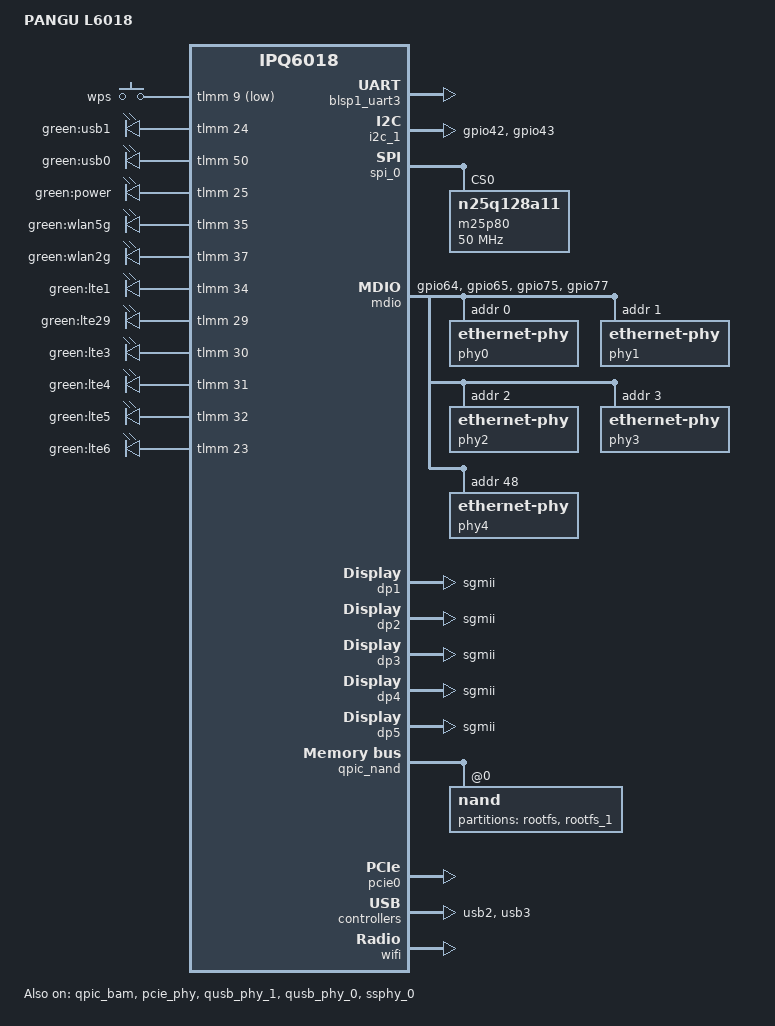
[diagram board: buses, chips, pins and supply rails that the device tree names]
// SPDX-License-Identifier: (GPL-2.0+ OR BSD-3-Clause)
/*
 * IPQ6018 CP01 board device tree source
 *
 * Copyright (c) 2019-2021 The Linux Foundation. All rights reserved.
 */

/dts-v1/;

#include "ipq6018.dtsi"
#include "ipq60xx-nss.dtsi"

/ {
	model = "PANGU L6018";
	compatible = "pangu,l6018", "qcom,ipq6018";

	aliases {
		led-boot = &power;
		led-failsafe = &power;
		led-running = &power;
		led-upgrade = &power;
		serial0 = &blsp1_uart3;
		/*
		 * Aliases as required by u-boot
		 * to patch MAC addresses
		 */
		ethernet0 = "/soc/dp1";
		ethernet1 = "/soc/dp2";
		ethernet2 = "/soc/dp3";
		ethernet3 = "/soc/dp4";
		ethernet4 = "/soc/dp5";
	};

	chosen {
		stdout-path = "serial0:115200n8";
		bootargs-append = " root=/dev/ubiblock0_1 swiotlb=1";
	};
};

&blsp1_uart3 {
	pinctrl-0 = <&serial_3_pins>;
	pinctrl-names = "default";
	status = "ok";
};

&i2c_1 {
	pinctrl-0 = <&i2c_1_pins>;
	pinctrl-names = "default";
	status = "ok";
};

&spi_0 {
	cs-select = <0>;
	status = "ok";

	m25p80@0 {
		#address-cells = <1>;
		#size-cells = <1>;
		reg = <0>;
		compatible = "n25q128a11";
		spi-max-frequency = <50000000>;

		SBL1@0 {
			label = "0:SBL1";
			reg = <0x0 0xc0000>;
			read-only;
		};

		MIBIB@c0000 {
			label = "0:MIBIB";
			reg = <0xc0000 0x10000>;
		};

		BOOTCONFIG@d0000 {
			label = "0:BOOTCONFIG";
			reg = <0xd0000 0x20000>;
			read-only;
		};

		BOOTCONFIG1@f0000 {
			label = "0:BOOTCONFIG1";
			reg = <0xf0000 0x20000>;
			read-only;
		};

		QSEE@110000 {
			label = "0:QSEE";
			reg = <0x110000 0x1a0000>;
			read-only;
		};

		QSEE_1@2b0000 {
			label = "0:QSEE_1";
			reg = <0x2b0000 0x1a0000>;
			read-only;
		};

		DEVCFG@450000 {
			label = "0:DEVCFG";
			reg = <0x450000 0x10000>;
			read-only;
		};

		DEVCFG_1@460000 {
			label = "0:DEVCFG_1";
			reg = <0x460000 0x10000>;
			read-only;
		};

		RPM@470000 {
			label = "0:RPM";
			reg = <0x4700000 0x40000>;
		};

		RPM_1@4b0000 {
			label = "0:RPM_1";
			reg = <0x4b0000 0x40000>;
			read-only;
		};

		CDT@4f0000 {
			label = "0:CDT";
			reg = <0x4f0000 0x10000>;
		};

		CDT_1@500000 {
			label = "0:CDT_1";
			reg = <0x500000 0x10000>;
			read-only;
		};

		APPSBLENV@510000 {
			label = "0:APPSBLENV";
			reg = <0x510000 0x10000>;
		};

		APPSBL@520000 {
			label = "0:APPSBL";
			reg = <0x520000 0xa0000>;
		};

		APPSBL_1@5c0000 {
			label = "0:APPSBL_1";
			reg = <0x5c0000 0xa0000>;
		};

		ART: ART@660000 {
			label = "0:ART";
			reg = <0x660000 0x40000>;
		};
	};
};

&tlmm {
	spi_0_pins: spi-0-pins {
		pins = "gpio38", "gpio39", "gpio40", "gpio41";
		function = "blsp0_spi";
		drive-strength = <8>;
		bias-pull-down;
	};

	i2c_1_pins: i2c_1_pins {
		mux {
			pins = "gpio42", "gpio43";
			function = "blsp2_i2c";
			drive-strength = <8>;
			bias-pull-down;
		};
	};

	button_pins: button_pins {
		wps_button {
			pins = "gpio9";
			function = "gpio";
			drive-strength = <8>;
			bias-pull-up;
		};
	};

	rst_usb_hub_pinmux {
		mux {
			pins = "gpio78";
			function = "gpio";
			drive-strength = <8>;
			bias-pull-up;
			output-high;
		};
	};

	vbus_usb_hub_pinmux {
		mux {
			pins = "gpio79";
			function = "gpio";
			drive-strength = <8>;
			bias-pull-up;
			output-high;
		};
	};

	mdio_pins: mdio_pinmux {
		mux_0 {
			pins = "gpio64";
			function = "mdc";
			drive-strength = <8>;
			bias-pull-up;
		};
		mux_1 {
			pins = "gpio65";
			function = "mdio";
			drive-strength = <8>;
			bias-pull-up;
		};
		mux_2 {
			pins = "gpio75";
			function = "gpio";
			bias-pull-up;
		};
		mux_3 {
			pins = "gpio77";
			function = "gpio";
			bias-pull-up;
		};
	};

	pcie0_pins: pcie_pins {
		pcie0_rst {
			pins = "gpio60";
			function = "pcie0_rst";
			drive-strength = <8>;
			bias-pull-down;
		};
		pcie0_wake {
			pins = "gpio36";
			function = "pcie0_wake";
			drive-strength = <8>;
			bias-pull-down;
		};
	};

	leds_pins: leds_pins {
		power {
			pins = "gpio25";
			function = "gpio";
			drive-strength = <8>;
			bias-pull-down;
		};

		wlan5g {
			pins = "gpio35";
			function = "gpio";
			drive-strength = <8>;
			bias-pull-down;
		};

		wlan2g {
			pins = "gpio37";
			function = "gpio";
			drive-strength = <8>;
			bias-pull-down;
		};

		usb1 {
			pins = "gpio24";
			function = "gpio";
			drive-strength = <8>;
			bias-pull-down;
		};

		usb0 {
			pins = "gpio50";
			function = "gpio";
			drive-strength = <8>;
			bias-pull-down;
		};

		lte1 {
			pins = "gpio34";
			function = "gpio";
			drive-strength = <8>;
			bias-pull-down;
		};

		lte2 {
			pins = "gpio29";
			function = "gpio";
			drive-strength = <8>;
			bias-pull-down;
		};

		lte3 {
			pins = "gpio30";
			function = "gpio";
			drive-strength = <8>;
			bias-pull-down;
		};

		lte4 {
			pins = "gpio31";
			function = "gpio";
			drive-strength = <8>;
			bias-pull-down;
		};

		lte5 {
			pins = "gpio32";
			function = "gpio";
			drive-strength = <8>;
			bias-pull-down;
		};

		lte6 {
			pins = "gpio23";
			function = "gpio";
			drive-strength = <8>;
			bias-pull-down;
		};
	};
};

&soc {
	mdio: mdio@90000 {
		pinctrl-0 = <&mdio_pins>;
		pinctrl-names = "default";
		phy-reset-gpio = <&tlmm 75 0 &tlmm 77 1>;
		status = "ok";
		phy0: ethernet-phy@0 {
			reg = <0>;
		};
		phy1: ethernet-phy@1 {
			reg = <1>;
		};
		phy2: ethernet-phy@2 {
			reg = <2>;
		};
		phy3: ethernet-phy@3 {
			reg = <3>;
		};
		phy4: ethernet-phy@4 {
			reg = <0x30>;
		};
	};

	dp1 {
		device_type = "network";
		compatible = "qcom,nss-dp";
		qcom,id = <1>;
		reg = <0x0 0x3a001000 0x0 0x200>;
		qcom,mactype = <0>;
		local-mac-address = [000000000000];
		qcom,link-poll = <1>;
		qcom,phy-mdio-addr = <0>;
		phy-mode = "sgmii";
		mdio-bus = <&mdio>;
	};

	dp2 {
		device_type = "network";
		compatible = "qcom,nss-dp";
		qcom,id = <2>;
		reg = <0x0 0x3a001200 0x0 0x200>;
		qcom,mactype = <0>;
		local-mac-address = [000000000000];
		qcom,link-poll = <1>;
		qcom,phy-mdio-addr = <1>;
		phy-mode = "sgmii";
		mdio-bus = <&mdio>;
	};

	dp3 {
		device_type = "network";
		compatible = "qcom,nss-dp";
		qcom,id = <3>;
		reg = <0x0 0x3a001400 0x0 0x200>;
		qcom,mactype = <0>;
		local-mac-address = [000000000000];
		qcom,link-poll = <1>;
		qcom,phy-mdio-addr = <2>;
		phy-mode = "sgmii";
		mdio-bus = <&mdio>;
	};

	dp4 {
		device_type = "network";
		compatible = "qcom,nss-dp";
		qcom,id = <4>;
		reg = <0x0 0x3a001600 0x0 0x200>;
		qcom,mactype = <0>;
		local-mac-address = [000000000000];
		qcom,link-poll = <1>;
		qcom,phy-mdio-addr = <3>;
		phy-mode = "sgmii";
		mdio-bus = <&mdio>;
	};

	dp5 {
		device_type = "network";
		compatible = "qcom,nss-dp";
		qcom,id = <5>;
		reg = <0x0 0x3a003000 0x0 0x3fff>;
		qcom,mactype = <1>;
		local-mac-address = [000000000000];
		qcom,link-poll = <1>;
		qcom,phy-mdio-addr = <30>;
		phy-mode = "sgmii";
		mdio-bus = <&mdio>;
	};

	ess-switch@3a000000 {
		switch_cpu_bmp = <0x1>;  /* cpu port bitmap */
		switch_lan_bmp = <0x1e>; /* lan port bitmap */
		switch_wan_bmp = <0x20>; /* wan port bitmap */
		switch_inner_bmp = <0xc0>; /*inner port bitmap*/
		switch_mac_mode = <0x0>; /* mac mode for uniphy instance0*/
		switch_mac_mode1 = <0xe>; /* mac mode for uniphy instance1*/
		switch_mac_mode2 = <0xff>; /* mac mode for uniphy instance2*/
		qcom,port_phyinfo {
			port@0 {
				port_id = <1>;
				phy_address = <0>;
			};
			port@1 {
				port_id = <2>;
				phy_address = <1>;
			};
			port@2 {
				port_id = <3>;
				phy_address = <2>;
			};
			port@3 {
				port_id = <4>;
				phy_address = <3>;
			};
			port@4 {
				port_id = <5>;
				phy_address = <30>;
				phy_i2c_address = <30>;
				phy-i2c-mode; /*i2c access phy */
				media-type = "sfp"; /* fiber mode */
			};
		};
	};

	gpio_keys {
		compatible = "gpio-keys";
		pinctrl-0 = <&button_pins>;
		pinctrl-names = "default";

		button@1 {
			label = "wps";
			linux,code = <KEY_WPS_BUTTON>;
			gpios = <&tlmm 9 GPIO_ACTIVE_LOW>;
			linux,input-type = <1>;
			debounce-interval = <60>;
		};
	};

	leds {
		compatible = "gpio-leds";
		pinctrl-0 = <&leds_pins>;
		pinctrl-names = "default";

		led@24 {
			label = "green:usb1";
			gpios = <&tlmm 24 GPIO_ACTIVE_HIGH>;
		};

		led@50 {
			label = "green:usb0";
			gpios = <&tlmm 50 GPIO_ACTIVE_HIGH>;
		};

		power: led@25 {
			label = "green:power";
			gpios = <&tlmm 25 GPIO_ACTIVE_HIGH>;
		};

		led@35 {
			label = "green:wlan5g";
			gpios = <&tlmm 35 GPIO_ACTIVE_HIGH>;
		};

		led@37 {
			label = "green:wlan2g";
			gpios = <&tlmm 37 GPIO_ACTIVE_HIGH>;
		};

		led@34 {
			label = "green:lte1";
			gpios = <&tlmm 34 GPIO_ACTIVE_HIGH>;
		};

		led@29 {
			label = "green:lte29";
			gpios = <&tlmm 29 GPIO_ACTIVE_HIGH>;
		};

		led@30 {
			label = "green:lte3";
			gpios = <&tlmm 30 GPIO_ACTIVE_HIGH>;
		};

		led@31 {
			label = "green:lte4";
			gpios = <&tlmm 31 GPIO_ACTIVE_HIGH>;
		};

		led@32 {
			label = "green:lte5";
			gpios = <&tlmm 32 GPIO_ACTIVE_HIGH>;
		};

		led@23 {
			label = "green:lte6";
			gpios = <&tlmm 23 GPIO_ACTIVE_HIGH>;
		};
	};
};

&qpic_bam {
	status = "ok";
};

&qpic_nand {
	status = "ok";

	nand@0 {
		reg = <0>;
		#address-cells = <1>;
		#size-cells = <1>;

		nand-ecc-step-size = <512>;
		nand-bus-width = <8>;

		partition@0 {
			label = "rootfs";
			reg = <0x0 0x8000000>;
		};

		partition@8000000 {
			label = "rootfs_1";
			reg = <0x8000000 0x8000000>;
		};
	};
};

&pcie_phy {
	status = "ok";
};

&pcie0 {
	perst-gpio = <&tlmm 60 1>;
	status = "ok";
};

&qusb_phy_1 {
	status = "ok";
};

&usb2 {
	status = "ok";
};

&qusb_phy_0 {
	status = "ok";
};

&ssphy_0 {
	status = "ok";
};

&usb3 {
	status = "ok";
};

&nss0 {
	status = "disabled";
};

&nss_crypto {
	status = "disabled";
};

&wifi {
	status = "ok";
};
